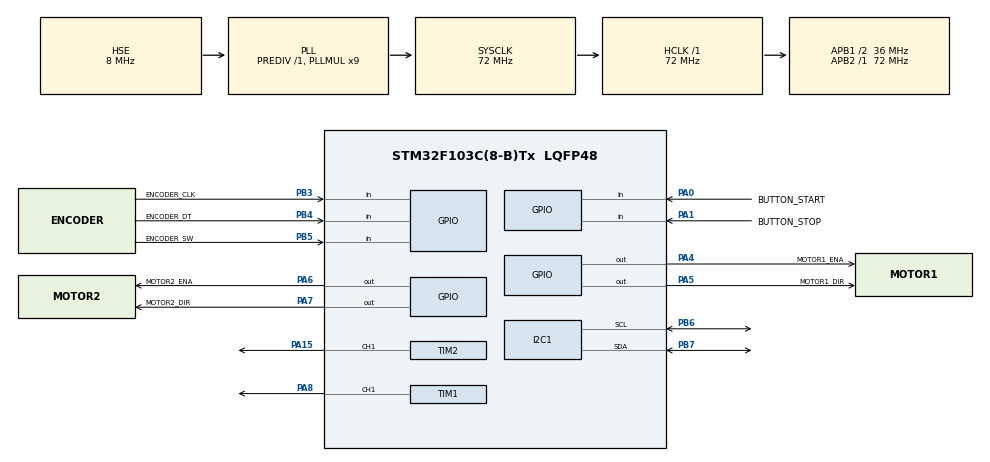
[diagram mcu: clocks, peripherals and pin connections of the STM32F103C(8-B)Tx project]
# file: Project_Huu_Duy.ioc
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I2C1.I2C_Mode=I2C_Fast
Mcu.Family=STM32F1
Mcu.Name=STM32F103C(8-B)Tx
Mcu.Package=LQFP48
NVIC.PriorityGroup=NVIC_PRIORITYGROUP_4
NVIC.TIM1_CC_IRQn=true\:0\:0\:false\:false\:true\:true\:true\:true
NVIC.TIM2_IRQn=true\:1\:0\:true\:false\:true\:true\:true\:true
PA0-WKUP.GPIO_Label=BUTTON_START
PA0-WKUP.GPIO_PuPd=GPIO_PULLUP
PA0-WKUP.Signal=GPIO_Input
PA1.GPIO_Label=BUTTON_STOP
PA1.GPIO_PuPd=GPIO_PULLUP
PA1.Signal=GPIO_Input
PA13.Mode=Serial_Wire
PA13.Signal=SYS_JTMS-SWDIO
PA14.Mode=Serial_Wire
PA14.Signal=SYS_JTCK-SWCLK
PA15.Signal=S_TIM2_CH1_ETR
PA4.GPIO_Label=MOTOR1_ENA
PA4.Signal=GPIO_Output
PA5.GPIO_Label=MOTOR1_DIR
PA5.Signal=GPIO_Output
PA6.GPIO_Label=MOTOR2_ENA
PA6.Signal=GPIO_Output
PA7.GPIO_Label=MOTOR2_DIR
PA7.Signal=GPIO_Output
PA8.Signal=S_TIM1_CH1
PB3.GPIO_Label=ENCODER_CLK
PB3.GPIO_PuPd=GPIO_PULLUP
PB3.Signal=GPIO_Input
PB4.GPIO_Label=ENCODER_DT
PB4.GPIO_PuPd=GPIO_PULLUP
PB4.Signal=GPIO_Input
PB5.GPIO_Label=ENCODER_SW
PB5.GPIO_PuPd=GPIO_PULLUP
PB5.Signal=GPIO_Input
PB6.Mode=I2C
PB6.Signal=I2C1_SCL
PB7.Mode=I2C
PB7.Signal=I2C1_SDA
PD0-OSC_IN.Mode=HSE-External-Oscillator
PD0-OSC_IN.Signal=RCC_OSC_IN
PD1-OSC_OUT.Mode=HSE-External-Oscillator
PD1-OSC_OUT.Signal=RCC_OSC_OUT
ProjectManager.HeapSize=0x200
ProjectManager.StackSize=0x400
ProjectManager.TargetToolchain=MDK-ARM V5.32
RCC.AHBFreq_Value=72000000
RCC.APB1CLKDivider=RCC_HCLK_DIV2
RCC.APB1Freq_Value=36000000
RCC.APB1TimFreq_Value=72000000
RCC.APB2Freq_Value=72000000
RCC.APB2TimFreq_Value=72000000
RCC.HCLKFreq_Value=72000000
RCC.PLLMUL=RCC_PLL_MUL9
RCC.PLLSourceVirtual=RCC_PLLSOURCE_HSE
RCC.SYSCLKFreq_VALUE=72000000
RCC.SYSCLKSource=RCC_SYSCLKSOURCE_PLLCLK
RCC.USBFreq_Value=72000000
SH.S_TIM1_CH1.0=TIM1_CH1,PWM Generation1 CH1
SH.S_TIM2_CH1_ETR.0=TIM2_CH1,PWM Generation1 CH1
TIM1.AutoReloadPreload=TIM_AUTORELOAD_PRELOAD_ENABLE
TIM1.Channel-PWM\ Generation1\ CH1=TIM_CHANNEL_1
TIM2.AutoReloadPreload=TIM_AUTORELOAD_PRELOAD_ENABLE
TIM2.Channel-PWM\ Generation1\ CH1=TIM_CHANNEL_1
board=custom

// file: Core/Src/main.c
/* USER CODE BEGIN Header */
/**
  ******************************************************************************
  * @file           : main.c
  * @brief          : Main program body
  ******************************************************************************
  * @attention
  *
  * Copyright (c) 2026 STMicroelectronics.
  * All rights reserved.
  *
  * This software is licensed under terms that can be found in the LICENSE file
  * in the root directory of this software component.
  * If no LICENSE file comes with this software, it is provided AS-IS.
  *
  ******************************************************************************
  */
/* USER CODE END Header */
#include "main.h"

/* USER CODE BEGIN Includes */
#include "lcd.h"
#include "step_motor.h"
#include "button.h"
#include <math.h>
/* USER CODE END Includes */

I2C_HandleTypeDef hi2c1;

TIM_HandleTypeDef htim1;
TIM_HandleTypeDef htim2;

/* USER CODE BEGIN PV */
LCD_HandleTypedef lcd;
StepperMotor motor1;
StepperMotor motor2;
/* USER CODE END PV */

void SystemClock_Config(void);
static void MX_GPIO_Init(void);
static void MX_I2C1_Init(void);
static void MX_TIM1_Init(void);
static void MX_TIM2_Init(void);

/* USER CODE BEGIN 0 */

#define DISTANCE_PER_ROUND 0.2

typedef enum{
	CHANGE_DISTANCE,
	CHANGE_TIME,
	RUN,
	STOP,
	NONE
}Mode;
Mode mode = NONE;
uint32_t last_enc_time = 0;
uint8_t clk_last_state = 1;
float distance = 0.0f;
uint32_t time = 0;
uint32_t time_display_stop = 0;

void display_change(void){
	lcd_gotoxy(&lcd, 0, 0);
	lcd_send_char(&lcd, (mode == CHANGE_DISTANCE) ? '>' : ' ');
	lcd_send_string(&lcd, "Step 1: ");
	lcd_send_float(&lcd, distance);
	lcd_send_string(&lcd, " cm");

	lcd_gotoxy(&lcd, 0, 1);
	lcd_send_char(&lcd, (mode == CHANGE_TIME) ? '>' : ' ');
	lcd_send_string(&lcd, "Step 2: ");
	time = motor2.time_run;
	lcd_send_int(&lcd, time);
	lcd_send_string(&lcd, " s");
}

void display_run(void){
	lcd_gotoxy(&lcd, 0, 0);
	lcd_send_string(&lcd, "      RUN       ");
	lcd_gotoxy(&lcd, 4, 1);
	time = motor2.time_run - motor2.time_count / 1000;
	lcd_send_int(&lcd, time);
	lcd_send_string(&lcd, " s");
	if(time == 0) mode = NONE;
}

void display_stop(void){
	lcd_gotoxy(&lcd, 0, 0);
	lcd_send_string(&lcd, "      STOP      ");
}

void display(void){
	switch(mode){
		case CHANGE_DISTANCE: case CHANGE_TIME: case NONE:
			display_change();
			break;
		case RUN:
			display_run();
			break;
		case STOP:
			display_stop();
			break;
		default: break;
	}
}

void Encoder_Polling(void)
{
    uint8_t clk_state = HAL_GPIO_ReadPin(ENCODER_CLK_GPIO_Port, ENCODER_CLK_Pin);
    if ((clk_last_state == 1) && (clk_state == 0)){
        if (HAL_GetTick() - last_enc_time > 5){
            float new_distance = distance;
            if (!HAL_GPIO_ReadPin(ENCODER_DT_GPIO_Port, ENCODER_DT_Pin)){
                if (mode == CHANGE_DISTANCE){
                    if (distance > 0)
                        new_distance -= 0.5f;
                }else if (mode == CHANGE_TIME){
                    if (motor2.time_run > 0)
                        motor2.time_run -= 1;
                }
            }else{
                if (mode == CHANGE_DISTANCE){
                    if (distance < 20)
                        new_distance += 0.5f;
                }else if (mode == CHANGE_TIME){
                    motor2.time_run += 1;
                }
            }

            if (mode == CHANGE_DISTANCE){
                float delta = new_distance - distance;
                if (fabs(delta) >= 0.01f){
                    motor1.direction = (delta > 0) ? FORWARD : BACKWARD;
                    motor1.target_steps += fabs(delta) * STEP_MODE / DISTANCE_PER_ROUND;
                    distance = new_distance;
					if(motor1.state == INACTIVE){
						Stepper_MoveSteps(&motor1);
					}
                }
            }
            last_enc_time = HAL_GetTick();
        }
    }
    clk_last_state = clk_state;
}

/* USER CODE END 0 */

int main(void)
{

  /* MCU Configuration--------------------------------------------------------*/

  /* Reset of all peripherals, Initializes the Flash interface and the Systick. */
  HAL_Init();

  /* Configure the system clock */
  SystemClock_Config();

  /* Initialize all configured peripherals */
  MX_GPIO_Init();
  MX_I2C1_Init();
  MX_TIM1_Init();
  MX_TIM2_Init();
  /* USER CODE BEGIN 2 */
	lcd_init(&lcd, &hi2c1, LCD_ADDRESS);
	Stepper_Init(&motor1, &htim1, TIM_CHANNEL_1, MOTOR1_DIR_GPIO_Port, MOTOR1_DIR_Pin, MOTOR1_ENA_GPIO_Port, MOTOR1_ENA_Pin);
	Stepper_Init(&motor2, &htim2, TIM_CHANNEL_1, MOTOR2_DIR_GPIO_Port, MOTOR2_DIR_Pin, MOTOR2_ENA_GPIO_Port, MOTOR2_ENA_Pin);
	motor1.speed_rpm = 10;
	motor2.speed_rpm = 300;
  /* USER CODE END 2 */

  /* Infinite loop */
  /* USER CODE BEGIN WHILE */
  while (1)
  {
	  Encoder_Polling();
	  Button_State button = Button_Pressing();
	  if(button != BUTTON_NONE){
		  if(button == BUTTON_START_PRESS && mode != RUN){
			  mode = RUN;
			  lcd_clear(&lcd);
			  if(motor2.time_run > 0){
				  if(motor2.time_count > 0) {
					  motor2.start_time = HAL_GetTick() - motor2.time_count;
					  Stepper_Enable(&motor2);
				  }
				  else Stepper_Rotate(&motor2);
			  }
		  }else if(button == BUTTON_STOP_PRESS && mode != STOP){
			  mode = STOP;
			  lcd_clear(&lcd);
			  time_display_stop = HAL_GetTick();
			  Stepper_Disable(&motor2);
		  }else if(button == BUTTON_ENCODER_PRESS){
			  switch(mode){
				  case NONE:
					  mode = CHANGE_DISTANCE;
					  break;
				  case CHANGE_DISTANCE:
					  mode = CHANGE_TIME;
					  break;
				  case CHANGE_TIME:
					  mode = NONE;
					  break;
				  default: break;
			  }
		  }
	  }

	  if(mode == STOP && HAL_GetTick() - time_display_stop >= 3000){
		  mode = NONE;
	  }
	  display();

    /* USER CODE END WHILE */

  }
}

void SystemClock_Config(void)
{
  RCC_OscInitTypeDef RCC_OscInitStruct = {0};
  RCC_ClkInitTypeDef RCC_ClkInitStruct = {0};

  /** Initializes the RCC Oscillators according to the specified parameters
  * in the RCC_OscInitTypeDef structure.
  */
  RCC_OscInitStruct.OscillatorType = RCC_OSCILLATORTYPE_HSE;
  RCC_OscInitStruct.HSEState = RCC_HSE_ON;
  RCC_OscInitStruct.HSEPredivValue = RCC_HSE_PREDIV_DIV1;
  RCC_OscInitStruct.HSIState = RCC_HSI_ON;
  RCC_OscInitStruct.PLL.PLLState = RCC_PLL_ON;
  RCC_OscInitStruct.PLL.PLLSource = RCC_PLLSOURCE_HSE;
  RCC_OscInitStruct.PLL.PLLMUL = RCC_PLL_MUL9;
  if (HAL_RCC_OscConfig(&RCC_OscInitStruct) != HAL_OK)
  {
    Error_Handler();
  }

  /** Initializes the CPU, AHB and APB buses clocks
  */
  RCC_ClkInitStruct.ClockType = RCC_CLOCKTYPE_HCLK|RCC_CLOCKTYPE_SYSCLK
                              |RCC_CLOCKTYPE_PCLK1|RCC_CLOCKTYPE_PCLK2;
  RCC_ClkInitStruct.SYSCLKSource = RCC_SYSCLKSOURCE_PLLCLK;
  RCC_ClkInitStruct.AHBCLKDivider = RCC_SYSCLK_DIV1;
  RCC_ClkInitStruct.APB1CLKDivider = RCC_HCLK_DIV2;
  RCC_ClkInitStruct.APB2CLKDivider = RCC_HCLK_DIV1;

  if (HAL_RCC_ClockConfig(&RCC_ClkInitStruct, FLASH_LATENCY_2) != HAL_OK)
  {
    Error_Handler();
  }
}

static void MX_I2C1_Init(void)
{

  hi2c1.Instance = I2C1;
  hi2c1.Init.ClockSpeed = 400000;
  hi2c1.Init.DutyCycle = I2C_DUTYCYCLE_2;
  hi2c1.Init.OwnAddress1 = 0;
  hi2c1.Init.AddressingMode = I2C_ADDRESSINGMODE_7BIT;
  hi2c1.Init.DualAddressMode = I2C_DUALADDRESS_DISABLE;
  hi2c1.Init.OwnAddress2 = 0;
  hi2c1.Init.GeneralCallMode = I2C_GENERALCALL_DISABLE;
  hi2c1.Init.NoStretchMode = I2C_NOSTRETCH_DISABLE;
  if (HAL_I2C_Init(&hi2c1) != HAL_OK)
  {
    Error_Handler();
  }

}

static void MX_TIM1_Init(void)
{

  TIM_MasterConfigTypeDef sMasterConfig = {0};
  TIM_OC_InitTypeDef sConfigOC = {0};
  TIM_BreakDeadTimeConfigTypeDef sBreakDeadTimeConfig = {0};

  htim1.Instance = TIM1;
  htim1.Init.Prescaler = 0;
  htim1.Init.CounterMode = TIM_COUNTERMODE_UP;
  htim1.Init.Period = 65535;
  htim1.Init.ClockDivision = TIM_CLOCKDIVISION_DIV1;
  htim1.Init.RepetitionCounter = 0;
  htim1.Init.AutoReloadPreload = TIM_AUTORELOAD_PRELOAD_ENABLE;
  if (HAL_TIM_PWM_Init(&htim1) != HAL_OK)
  {
    Error_Handler();
  }
  sMasterConfig.MasterOutputTrigger = TIM_TRGO_RESET;
  sMasterConfig.MasterSlaveMode = TIM_MASTERSLAVEMODE_DISABLE;
  if (HAL_TIMEx_MasterConfigSynchronization(&htim1, &sMasterConfig) != HAL_OK)
  {
    Error_Handler();
  }
  sConfigOC.OCMode = TIM_OCMODE_PWM1;
  sConfigOC.Pulse = 0;
  sConfigOC.OCPolarity = TIM_OCPOLARITY_HIGH;
  sConfigOC.OCNPolarity = TIM_OCNPOLARITY_HIGH;
  sConfigOC.OCFastMode = TIM_OCFAST_DISABLE;
  sConfigOC.OCIdleState = TIM_OCIDLESTATE_RESET;
  sConfigOC.OCNIdleState = TIM_OCNIDLESTATE_RESET;
  if (HAL_TIM_PWM_ConfigChannel(&htim1, &sConfigOC, TIM_CHANNEL_1) != HAL_OK)
  {
    Error_Handler();
  }
  sBreakDeadTimeConfig.OffStateRunMode = TIM_OSSR_DISABLE;
  sBreakDeadTimeConfig.OffStateIDLEMode = TIM_OSSI_DISABLE;
  sBreakDeadTimeConfig.LockLevel = TIM_LOCKLEVEL_OFF;
  sBreakDeadTimeConfig.DeadTime = 0;
  sBreakDeadTimeConfig.BreakState = TIM_BREAK_DISABLE;
  sBreakDeadTimeConfig.BreakPolarity = TIM_BREAKPOLARITY_HIGH;
  sBreakDeadTimeConfig.AutomaticOutput = TIM_AUTOMATICOUTPUT_DISABLE;
  if (HAL_TIMEx_ConfigBreakDeadTime(&htim1, &sBreakDeadTimeConfig) != HAL_OK)
  {
    Error_Handler();
  }
  HAL_TIM_MspPostInit(&htim1);

}

static void MX_TIM2_Init(void)
{

  TIM_MasterConfigTypeDef sMasterConfig = {0};
  TIM_OC_InitTypeDef sConfigOC = {0};

  htim2.Instance = TIM2;
  htim2.Init.Prescaler = 0;
  htim2.Init.CounterMode = TIM_COUNTERMODE_UP;
  htim2.Init.Period = 65535;
  htim2.Init.ClockDivision = TIM_CLOCKDIVISION_DIV1;
  htim2.Init.AutoReloadPreload = TIM_AUTORELOAD_PRELOAD_ENABLE;
  if (HAL_TIM_PWM_Init(&htim2) != HAL_OK)
  {
    Error_Handler();
  }
  sMasterConfig.MasterOutputTrigger = TIM_TRGO_RESET;
  sMasterConfig.MasterSlaveMode = TIM_MASTERSLAVEMODE_DISABLE;
  if (HAL_TIMEx_MasterConfigSynchronization(&htim2, &sMasterConfig) != HAL_OK)
  {
    Error_Handler();
  }
  sConfigOC.OCMode = TIM_OCMODE_PWM1;
  sConfigOC.Pulse = 0;
  sConfigOC.OCPolarity = TIM_OCPOLARITY_HIGH;
  sConfigOC.OCFastMode = TIM_OCFAST_DISABLE;
  if (HAL_TIM_PWM_ConfigChannel(&htim2, &sConfigOC, TIM_CHANNEL_1) != HAL_OK)
  {
    Error_Handler();
  }
  HAL_TIM_MspPostInit(&htim2);

}

static void MX_GPIO_Init(void)
{
  GPIO_InitTypeDef GPIO_InitStruct = {0};

  /* GPIO Ports Clock Enable */
  __HAL_RCC_GPIOD_CLK_ENABLE();
  __HAL_RCC_GPIOA_CLK_ENABLE();
  __HAL_RCC_GPIOB_CLK_ENABLE();

  /*Configure GPIO pin Output Level */
  HAL_GPIO_WritePin(GPIOA, MOTOR1_ENA_Pin|MOTOR1_DIR_Pin|MOTOR2_ENA_Pin|MOTOR2_DIR_Pin, GPIO_PIN_RESET);

  /*Configure GPIO pins : BUTTON_START_Pin BUTTON_STOP_Pin */
  GPIO_InitStruct.Pin = BUTTON_START_Pin|BUTTON_STOP_Pin;
  GPIO_InitStruct.Mode = GPIO_MODE_INPUT;
  GPIO_InitStruct.Pull = GPIO_PULLUP;
  HAL_GPIO_Init(GPIOA, &GPIO_InitStruct);

  /*Configure GPIO pins : MOTOR1_ENA_Pin MOTOR1_DIR_Pin MOTOR2_ENA_Pin MOTOR2_DIR_Pin */
  GPIO_InitStruct.Pin = MOTOR1_ENA_Pin|MOTOR1_DIR_Pin|MOTOR2_ENA_Pin|MOTOR2_DIR_Pin;
  GPIO_InitStruct.Mode = GPIO_MODE_OUTPUT_PP;
  GPIO_InitStruct.Pull = GPIO_NOPULL;
  GPIO_InitStruct.Speed = GPIO_SPEED_FREQ_LOW;
  HAL_GPIO_Init(GPIOA, &GPIO_InitStruct);

  /*Configure GPIO pins : ENCODER_CLK_Pin ENCODER_DT_Pin ENCODER_SW_Pin */
  GPIO_InitStruct.Pin = ENCODER_CLK_Pin|ENCODER_DT_Pin|ENCODER_SW_Pin;
  GPIO_InitStruct.Mode = GPIO_MODE_INPUT;
  GPIO_InitStruct.Pull = GPIO_PULLUP;
  HAL_GPIO_Init(GPIOB, &GPIO_InitStruct);

}

void Error_Handler(void)
{
  __disable_irq();
  while (1)
  {
  }
}
